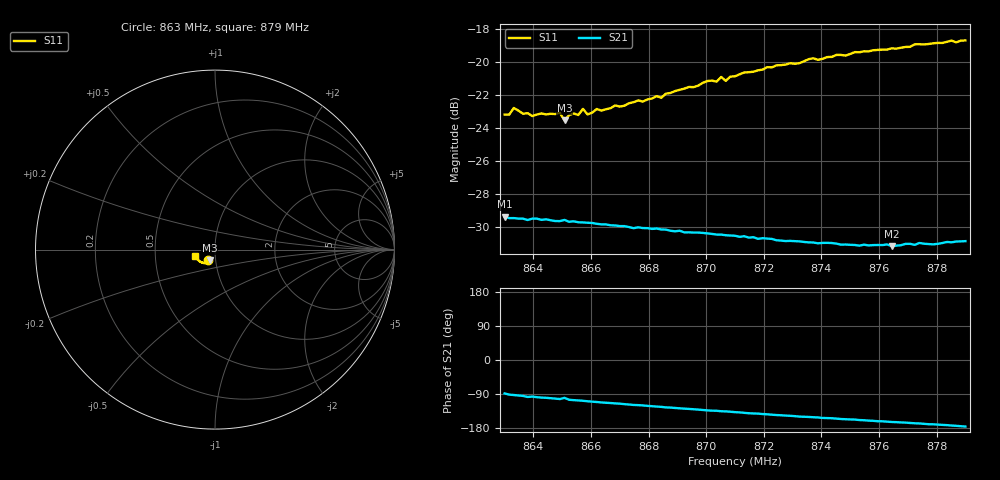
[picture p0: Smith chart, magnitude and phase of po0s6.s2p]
# HZ S RI R 50
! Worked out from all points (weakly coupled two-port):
!   101 points, 863 MHz to 879 MHz, reference 50 ohm
!   highest |S21| = -29.34 dB at 863 MHz (marker M1); lowest = -31.1 dB at 876.44 MHz (marker M2)
!   lowest |S11| = -23.5 dB at 865.08 MHz (marker M3), VSWR 1.14, Z = 46.8 - j5.63 ohm
!   |S11| at or under -10 dB: start of sweep to end of sweep
!   S12 and S22 are empty: the file has one direction only
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8.63e8  -0.0385 -0.0578  0.00107 -0.0341  0 0  0 0
8.6316e8  -0.0379 -0.0581  -0.000818 -0.0337  0 0  0 0
8.6332e8  -0.0436 -0.0582  -0.00144 -0.0337  0 0  0 0
8.6396e8  -0.0379 -0.0573  -0.0038 -0.0334  0 0  0 0
8.6492e8  -0.0373 -0.0595  -0.00745 -0.0322  0 0  0 0
8.6508e8  -0.0293 -0.0598  -0.0057 -0.0328  0 0  0 0
8.6524e8  -0.0362 -0.059  -0.00847 -0.0318  0 0  0 0
8.6556e8  -0.0355 -0.0594  -0.0094 -0.0314  0 0  0 0
8.6572e8  -0.0362 -0.0625  -0.00991 -0.0312  0 0  0 0
8.6588e8  -0.0347 -0.0602  -0.0106 -0.0309  0 0  0 0
8.662e8  -0.0359 -0.0626  -0.0115 -0.0303  0 0  0 0
8.6716e8  -0.0352 -0.0649  -0.0143 -0.0286  0 0  0 0
8.6828e8  -0.0386 -0.0688  -0.0171 -0.0263  0 0  0 0
8.6844e8  -0.0382 -0.068  -0.0173 -0.026  0 0  0 0
8.7004e8  -0.0461 -0.0746  -0.0207 -0.0222  0 0  0 0
8.7036e8  -0.0469 -0.0737  -0.0209 -0.0217  0 0  0 0
8.7052e8  -0.0497 -0.0753  -0.0214 -0.0212  0 0  0 0
8.7068e8  -0.0488 -0.073  -0.0214 -0.021  0 0  0 0
8.71e8  -0.0514 -0.0747  -0.022 -0.0201  0 0  0 0
8.7372e8  -0.0722 -0.0732  -0.0249 -0.0138  0 0  0 0
8.7644e8  -0.0931 -0.0588  -0.0266 -0.00785  0 0  0 0
8.79e8  -0.1102 -0.0373  -0.0287 -0.00224  0 0  0 0
